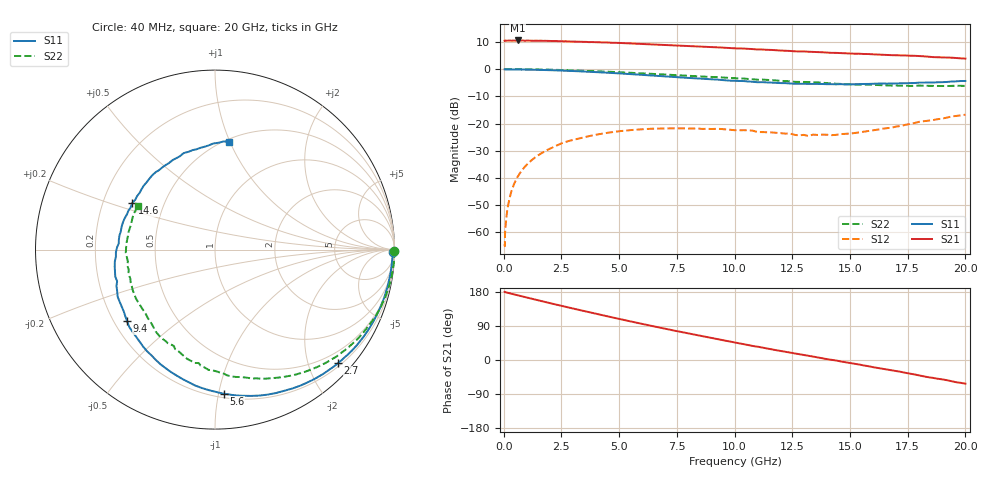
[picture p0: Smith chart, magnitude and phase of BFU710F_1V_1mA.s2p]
! Filename:  P:\Prog\Test\Noise\ATS_data\Testdata_Net\BFU710\BFU710_2W_A1_1V1mA_D.s2p
! Date/Time: Fri 29/Apr/2011 13:26:00
! BFU710_2W_A1_1V1mA
! bias mode 1: Vout= 1.0002 V, Iout= 1.0340 mA, Vin= 0.7842 V, Iin= 0.0030 mA
! Date/time Wed Mar 16 13:23:16 2011
! Device data file deembeded for feedlines and parallel
! Original file: \BFU710\BFU710_2W_A1_1V1mA_R.s2p
! Feed-files: PR003V01_101208_Feed1.s2p, PR003V01_101208_Feed2.s2p
! Parallel-file: PR003V01_101208_Par.s2p
# MHz S MA R 50
!  Freq-MHz  S11-mag  S11-arg  S21-mag  S21-arg  S12-mag  S12-arg  S22-mag  S22-arg
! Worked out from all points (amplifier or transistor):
!   167 points, 40 MHz to 20 GHz, reference 50 ohm
!   highest |S21| = 10.5 dB at 600 MHz (marker M1)
!   |S21| within 3 dB of that: start of sweep to 10.46 GHz
!   unconditionally stable (mu >= 1): 10.46 GHz to end of sweep
!   at 550 MHz: K = -0.02, MSG = 25.4 dB, |S12| = -40.4 dB
!   at 4.2 GHz: K = 0.26, MSG = 16.8 dB, |S12| = -23.8 dB
!   at 20 GHz: K = 1.01, MAG = 9.8 dB, |S12| = -16.7 dB
!   S11 on the Smith chart (normalised r, x): 40 MHz: open; 2.7 GHz: 0.26, -2.53; 5.6 GHz: 0.23, -1.04; 9.4 GHz: 0.25, -0.34; 14.6 GHz: 0.33, +0.24; 20 GHz: 0.52, +0.99
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40  0.9893 -0.7  3.328 179.7  0.0006121 87.0  0.9997 -0.4
50  0.9897 -0.8  3.339 179.1  0.0005603 113.2  0.999 -0.5
60  0.9894 -0.9  3.303 178.9  0.000991 100.3  0.9998 -0.5
90  0.9893 -1.4  3.343 178.5  0.001472 90.6  0.9998 -0.8
220  0.9888 -3.5  3.336 176.7  0.003671 90.1  0.9997 -2.1
380  0.9877 -6.0  3.328 174.2  0.006496 88.7  0.9992 -3.7
600  0.9849 -9.6  3.358 170.9  0.01045 85.5  0.9978 -5.8
1400  0.9716 -22.3  3.329 159.0  0.02453 74.9  0.9878 -13.6
2700  0.9327 -42.7  3.241 140.2  0.04618 58.8  0.9571 -26.0
3400  0.9065 -53.5  3.174 130.3  0.05511 50.3  0.9359 -32.5
4400  0.8631 -68.6  3.099 116.5  0.06673 39.4  0.9012 -41.5
5600  0.804 -86.6  2.952 100.4  0.07648 26.6  0.8524 -52.1
6800  0.744 -104.0  2.797 85.0  0.08114 14.9  0.8033 -62.2
8200  0.6813 -123.7  2.633 67.8  0.08123 4.0  0.7474 -73.9
9400  0.6321 -140.8  2.493 53.1  0.07963 -3.9  0.7044 -84.4
10200  0.6055 -151.3  2.402 44.4  0.07531 -7.4  0.6732 -91.0
11600  0.5669 -170.3  2.249 28.3  0.06883 -11.0  0.6279 -104.4
13400  0.5358 166.2  2.071 9.2  0.06255 -6.2  0.5763 -121.2
14600  0.5293 150.7  1.97 -3.8  0.06404 -0.1  0.535 -134.3
16800  0.5435 123.0  1.803 -27.1  0.08414 6.2  0.4986 -161.0
18200  0.5646 105.1  1.718 -43.2  0.1104 2.0  0.4952 178.4
20000  0.6058 82.8  1.562 -62.5  0.1454 -7.8  0.4918 150.4
